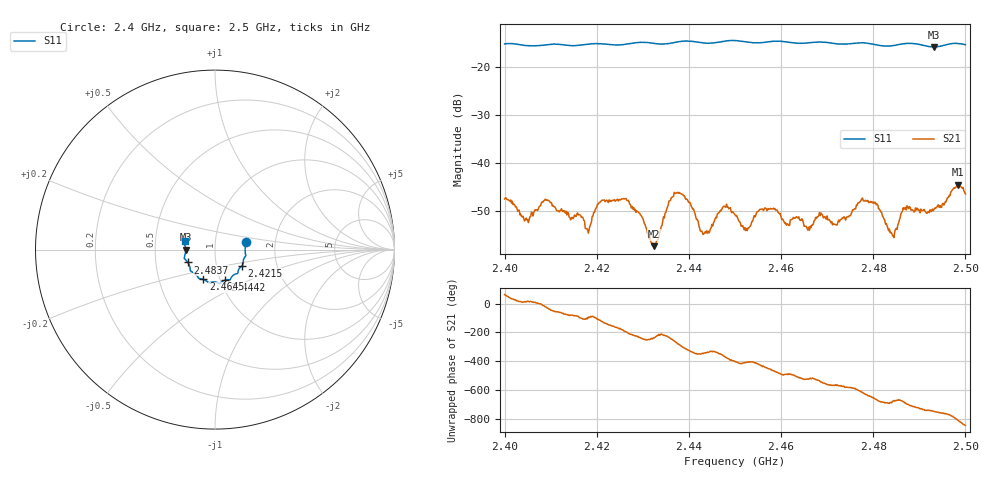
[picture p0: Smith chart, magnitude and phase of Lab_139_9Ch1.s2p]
# Hz S RI R 50
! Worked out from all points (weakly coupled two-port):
!   601 points, 2.4 GHz to 2.5 GHz, reference 50 ohm
!   highest |S21| = -44.54 dB at 2.4983 GHz (marker M1); lowest = -57.4 dB at 2.4323 GHz (marker M2)
!   lowest |S11| = -15.7 dB at 2.4932 GHz (marker M3), VSWR 1.39, Z = 36 - j0.0535 ohm
!   |S11| at or under -10 dB: start of sweep to end of sweep
!   S12 and S22 are empty: the file has one direction only
!   S11 on the Smith chart (normalised r, x): 2.4 GHz: 1.41, +0.12; 2.4215 GHz: 1.33, -0.25; 2.4442 GHz: 1.05, -0.37; 2.4645 GHz: 0.83, -0.29; 2.4837 GHz: 0.73, -0.11; 2.5 GHz: 0.71, +0.07
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2.4e9  0.1713 0.0402  0.00189 0.00375  0 0  0 0
2.404667e9  0.1685 0.0129  0.0026 0.00053  0 0  0 0
2.409e9  0.1699 -0.0254  0.00372 -0.00171  0 0  0 0
2.416667e9  0.1569 -0.0698  -0.000538 -0.00264  0 0  0 0
2.418167e9  0.1556 -0.0799  -0.000124 -0.00184  0 0  0 0
2.4215e9  0.1511 -0.0897  -0.00275 -0.00302  0 0  0 0
2.4265e9  0.1294 -0.1179  -0.0039 0.00122  0 0  0 0
2.432333e9  0.1153 -0.1357  -0.000677 0.00117  0 0  0 0
2.433333e9  0.1083 -0.1385  -0.00118 0.00104  0 0  0 0
2.437333e9  0.0875 -0.1615  0.000209 0.00487  0 0  0 0
2.444167e9  0.0565 -0.1694  0.00181 0.000696  0 0  0 0
2.447667e9  0.0318 -0.1849  0.00351 -0.000392  0 0  0 0
2.45e9  0.0252 -0.189  0.00211 -0.00195  0 0  0 0
2.4645e9  -0.0657 -0.166  -0.00247 -0.000845  0 0  0 0
2.466667e9  -0.0827 -0.162  -0.00212 -0.000745  0 0  0 0
2.477833e9  -0.1377 -0.1166  -0.000568 0.00399  0 0  0 0
2.483333e9  -0.149 -0.0751  0.00173 0.000918  0 0  0 0
2.483667e9  -0.1509 -0.0718  0.00156 0.00101  0 0  0 0
2.487e9  -0.1702 -0.0508  0.00301 0.00166  0 0  0 0
2.493167e9  -0.1635 -0.000724  0.00286 -0.00155  0 0  0 0
2.498333e9  -0.1728 0.0418  -5.48e-05 -0.00593  0 0  0 0
2.5e9  -0.1651 0.0506  -0.00287 -0.00378  0 0  0 0
